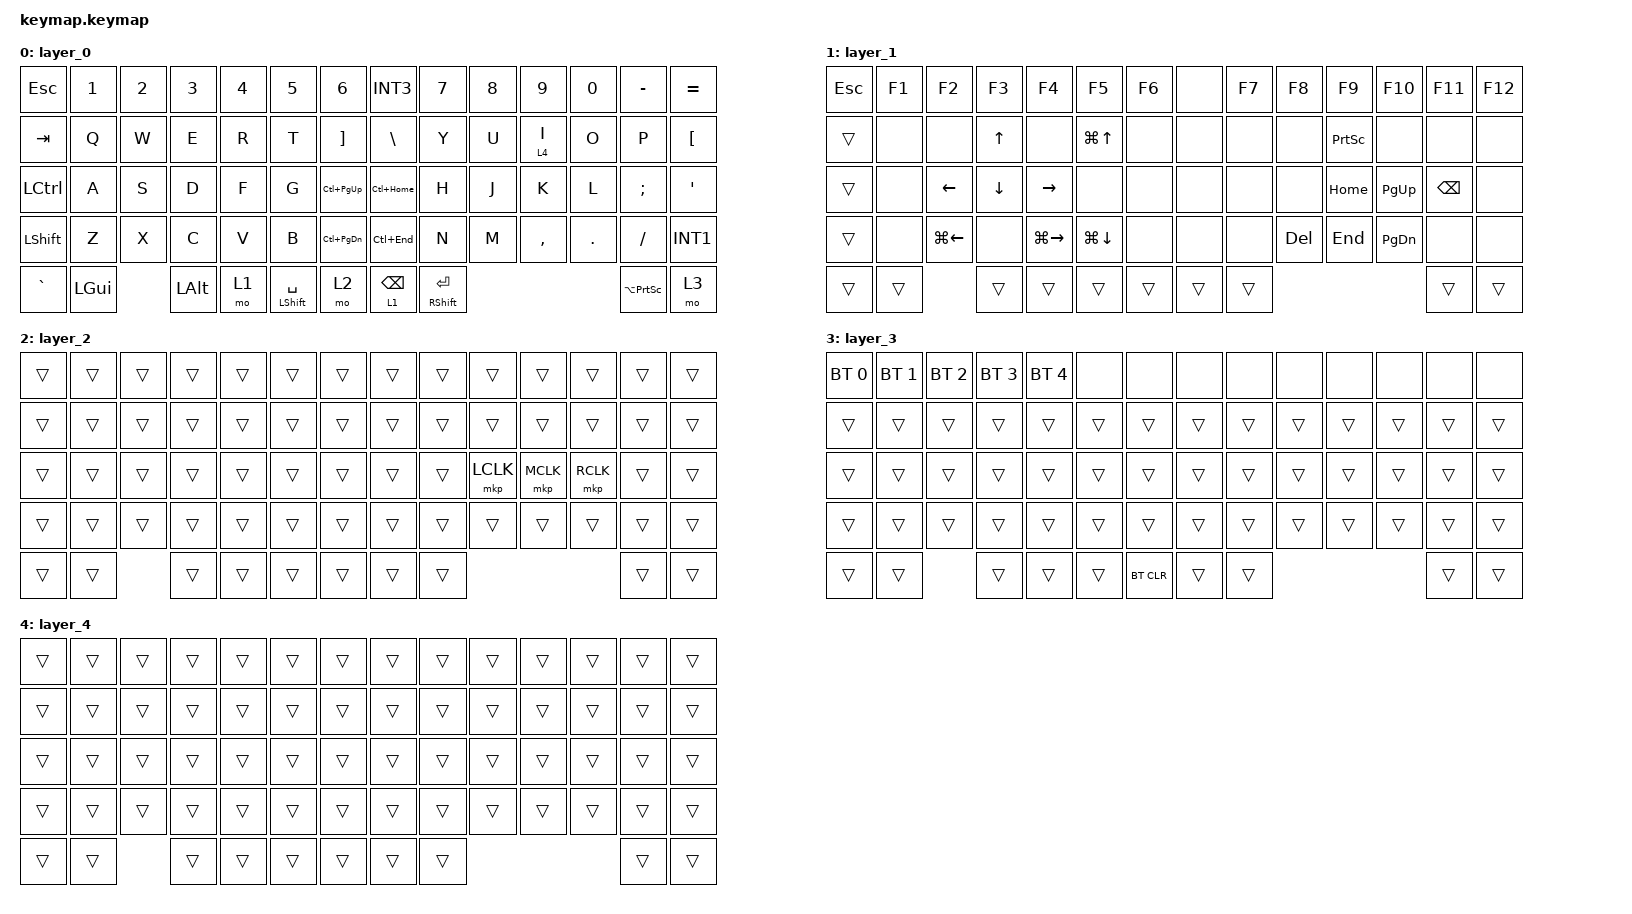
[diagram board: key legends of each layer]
#include <behaviors.dtsi>
#include <dt-bindings/zmk/bt.h>
#include <dt-bindings/zmk/keys.h>
#include <dt-bindings/zmk/pointing.h>


/ {
    keymap {
        compatible = "zmk,keymap";

        /* BASE */
        layer_0 {
            bindings = <
&kp ESCAPE        &kp NUMBER_1  &kp NUMBER_2  &kp NUMBER_3  &kp NUMBER_4  &kp N5                &kp NUMBER_6                    &kp INT3              &kp N7                 &kp N8  &kp N9     &kp N0      &kp MINUS            &kp EQUAL
&kp TAB           &kp Q         &kp W         &kp E         &kp R         &kp T                 &kp RIGHT_BRACKET               &kp BACKSLASH         &kp Y                  &kp U   &lt 4 I    &kp O       &kp P                &kp LEFT_BRACKET
&kp LEFT_CONTROL  &kp A         &kp S         &kp D         &kp F         &kp G                 &kp LC(PAGE_UP)                 &kp LC(HOME)          &kp H                  &kp J   &kp K      &kp L       &kp SEMICOLON        &kp SQT
&kp LEFT_SHIFT    &kp Z         &kp X         &kp C         &kp V         &kp B                 &kp LC(PAGE_DOWN)               &kp LC(END)           &kp N                  &kp M   &kp COMMA  &kp PERIOD  &kp SLASH            &kp INT1
&kp GRAVE         &kp LEFT_GUI                &kp LEFT_ALT  &mo 1         &mt LEFT_SHIFT SPACE  &mo 2                           &lt 1 BACKSPACE       &mt RIGHT_SHIFT ENTER                                 &kp LA(PRINTSCREEN)  &mo 3
            >;
        };

        /* MOD */
        layer_1 {
            bindings = <
&kp ESCAPE  &kp F1  &kp F2        &kp F3        &kp F4         &kp F5        &kp F6           &none  &kp F7  &kp F8      &kp F9           &kp F10        &kp F11        &kp F12
&trans      &none   &none         &kp UP_ARROW  &none          &kp LG(UP)    &none            &none  &none   &none       &kp PRINTSCREEN  &none          &none          &none
&trans      &none   &kp LEFT      &kp DOWN      &kp RIGHT      &none         &none            &none  &none   &none       &kp HOME         &kp PAGE_UP    &kp BACKSPACE  &none
&trans      &none   &kp LG(LEFT)  &none         &kp LG(RIGHT)  &kp LG(DOWN)  &none            &none  &none   &kp DELETE  &kp END          &kp PAGE_DOWN  &none          &none
&trans      &trans                &trans        &trans         &trans        &trans           &trans &trans                                              &trans         &trans
            >;
        };

        /* MOUSE */
        layer_2 {
            bindings = <
&trans  &trans  &trans  &trans  &trans  &trans  &trans          &trans  &trans  &trans     &trans     &trans     &trans  &trans
&trans  &trans  &trans  &trans  &trans  &trans  &trans          &trans  &trans  &trans     &trans     &trans     &trans  &trans
&trans  &trans  &trans  &trans  &trans  &trans  &trans          &trans  &trans  &mkp LCLK  &mkp MCLK  &mkp RCLK  &trans  &trans
&trans  &trans  &trans  &trans  &trans  &trans  &trans          &trans  &trans  &trans     &trans     &trans     &trans  &trans
&trans  &trans          &trans  &trans  &trans  &trans          &trans  &trans                                   &trans  &trans
            >;
        };

        /* BLUETOOTH */
        layer_3 {
            bindings = <
&bt BT_SEL 0  &bt BT_SEL 1  &bt BT_SEL 2  &bt BT_SEL 3  &bt BT_SEL 4  &none   &none             &none   &none   &none   &none   &none   &none   &none
&trans        &trans        &trans        &trans        &trans        &trans  &trans            &trans  &trans  &trans  &trans  &trans  &trans  &trans
&trans        &trans        &trans        &trans        &trans        &trans  &trans            &trans  &trans  &trans  &trans  &trans  &trans  &trans
&trans        &trans        &trans        &trans        &trans        &trans  &trans            &trans  &trans  &trans  &trans  &trans  &trans  &trans
&trans        &trans                      &trans        &trans        &trans  &bt BT_CLR        &trans  &trans                          &trans  &trans
            >;
        };

        /* SCROLL */
        layer_4 {
            bindings = <
&trans  &trans  &trans  &trans  &trans  &trans  &trans          &trans  &trans  &trans  &trans  &trans  &trans  &trans
&trans  &trans  &trans  &trans  &trans  &trans  &trans          &trans  &trans  &trans  &trans  &trans  &trans  &trans
&trans  &trans  &trans  &trans  &trans  &trans  &trans          &trans  &trans  &trans  &trans  &trans  &trans  &trans
&trans  &trans  &trans  &trans  &trans  &trans  &trans          &trans  &trans  &trans  &trans  &trans  &trans  &trans
&trans  &trans          &trans  &trans  &trans  &trans          &trans  &trans                          &trans  &trans
            >;
        };
    };
};
